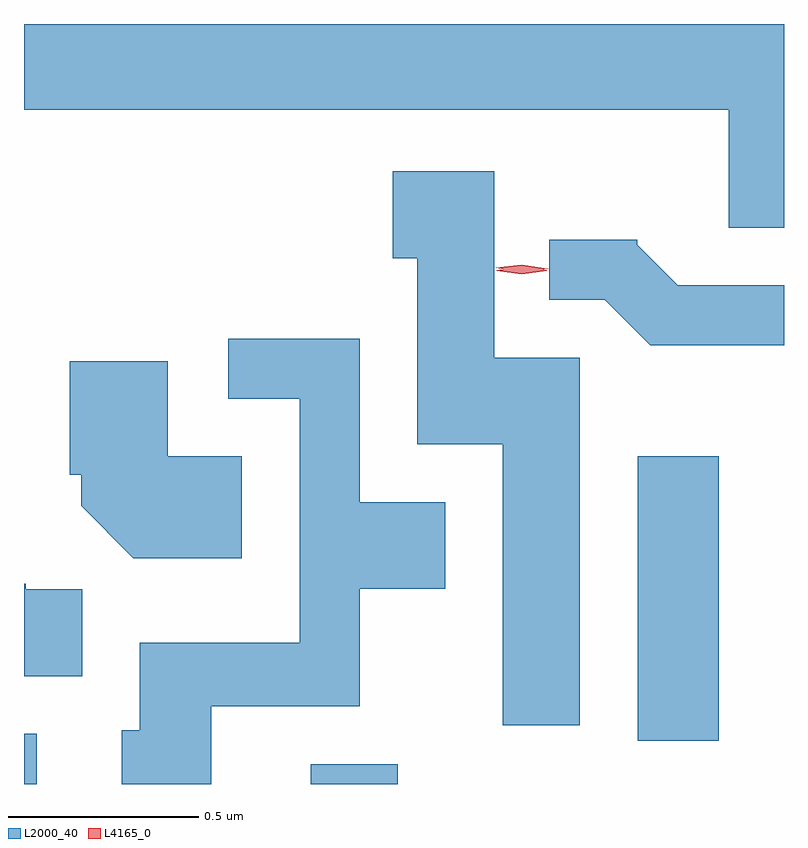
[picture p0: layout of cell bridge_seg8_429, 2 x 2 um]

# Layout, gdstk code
import gdstk
lib = gdstk.Library(unit=1e-6, precision=1e-09)
def R(c, l, rs):  # rectangles x0, y0, x1, y1
    for r in rs: c.add(gdstk.rectangle(r[:2], r[2:], *l))
def P(c, l, *ps):  # polygons
    for p in ps: c.add(gdstk.Polygon(p, *l))
L2000_40 = (2000, 40)
L4165_0 = (4165, 0)

bridge_seg8_429 = lib.new_cell('bridge_seg8_429')
R(bridge_seg8_429, L2000_40, [(1003.246,1867.942,1003.279,1868.074), (1004.001,1867.942,1004.229,1867.994), (1004.861,1868.056,1005.074,1868.804)])
P(bridge_seg8_429, L2000_40, [(1005.246,1869.942),(1003.246,1869.942),(1003.246,1869.716),(1005.101,1869.716),(1005.101,1869.406),(1005.246,1869.406)],
  [(1004.709,1869.064),(1004.484,1869.064),(1004.484,1869.554),(1004.216,1869.554),(1004.216,1869.326),(1004.281,1869.326),(1004.281,1868.836),(1004.506,1868.836),(1004.506,1868.096),(1004.709,1868.096)],
  [(1005.246,1869.254),(1004.967,1869.254),(1004.86,1869.361),(1004.86,1869.374),(1004.628,1869.374),(1004.628,1869.216),(1004.774,1869.216),(1004.894,1869.096),(1005.246,1869.096)],
  [(1003.739,1868.146),(1004.129,1868.146),(1004.129,1868.456),(1004.354,1868.456),(1004.354,1868.684),(1004.129,1868.684),(1004.129,1869.114),(1003.783,1869.114),(1003.783,1868.956),(1003.971,1868.956),(1003.971,1868.314),(1003.551,1868.314),(1003.551,1868.084),(1003.503,1868.084),(1003.503,1867.942),(1003.739,1867.942)],
  [(1003.819,1868.804),(1003.624,1868.804),(1003.624,1869.054),(1003.366,1869.054),(1003.366,1868.756),(1003.396,1868.756),(1003.396,1868.674),(1003.534,1868.536),(1003.819,1868.536)],
  [(1003.399,1868.454),(1003.25,1868.454),(1003.25,1868.469),(1003.246,1868.469),(1003.246,1868.226),(1003.399,1868.226)])
P(bridge_seg8_429, L4165_0, [(1004.556,1869.284),(1004.49,1869.293),(1004.49,1869.294),(1004.49,1869.294),(1004.556,1869.304),(1004.621,1869.294),(1004.622,1869.294),(1004.621,1869.293)],
  [(1004.556,1869.289),(1004.488,1869.3),(1004.488,1869.301),(1004.488,1869.301),(1004.556,1869.309),(1004.624,1869.298),(1004.625,1869.298),(1004.624,1869.298)])

lib.write_gds('bridge_seg8_429.gds')
